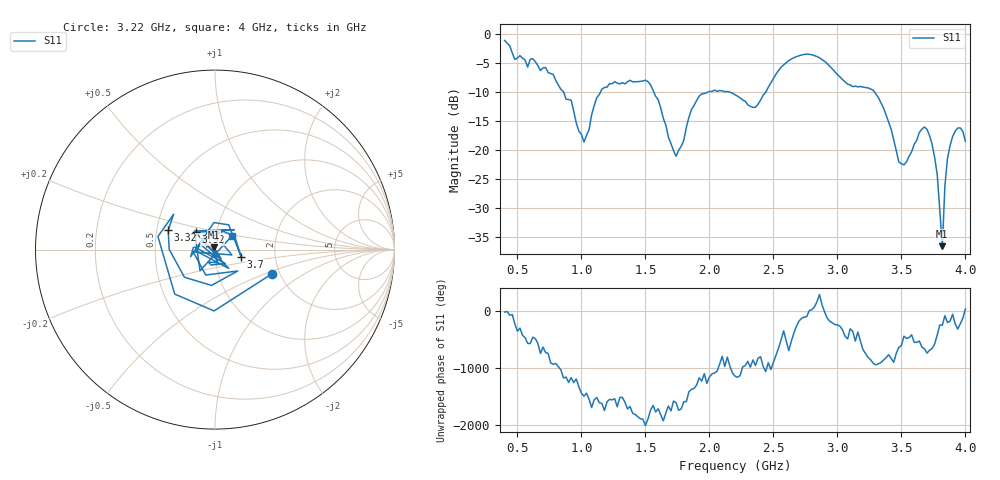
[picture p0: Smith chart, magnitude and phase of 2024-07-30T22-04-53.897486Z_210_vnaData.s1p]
!Created with skrf (http://scikit-rf.org).
# Hz S RI R 50.0
!freq ReS11 ImS11
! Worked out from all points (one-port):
!   181 points, 400 MHz to 4 GHz, reference 50 ohm
!   lowest |S11| = -36.6 dB at 3.82 GHz (marker M1), VSWR 1.03, Z = 49.4 + j1.33 ohm
!   |S11| at or under -10 dB: 1.565 GHz to 1.993 GHz (427.6 MHz wide, 24 % of centre); 2.151 GHz to 2.442 GHz (290.6 MHz wide, 12.7 % of centre); 3.288 GHz to end of sweep (the widest 3 of 4)
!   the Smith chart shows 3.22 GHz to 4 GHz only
!   S11 on the Smith chart (normalised r, x): 3.22 GHz: 1.82, -0.56; 3.32 GHz: 0.57, +0.14; 3.7 GHz: 1.34, -0.11; 3.92 GHz: 0.79, +0.16; 4 GHz: 1.19, +0.18
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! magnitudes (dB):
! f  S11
! 400 MHz  -1.2
! 480 MHz  -4.4
! 620 MHz  -4.3
! 860 MHz  -10.0
! 920 MHz  -11.4
! 1.02 GHz  -18.6
! 1.16 GHz  -9.5
! 1.3 GHz  -8.6
! 1.52 GHz  -8.2
! 1.72 GHz  -20.1
! 1.76 GHz  -20.1
! 1.92 GHz  -10.8
! 2.2 GHz  -10.5
! 2.36 GHz  -12.7
! 2.66 GHz  -4.1
! 2.84 GHz  -3.9
! 3.1 GHz  -8.8
! 3.22 GHz  -9.3
! 3.32 GHz  -11.0
! 3.48 GHz  -22.1
! 3.56 GHz  -21.1
! 3.7 GHz  -16.5
! 3.78 GHz  -24.3
! 3.82 GHz  -36.6
! 3.84 GHz  -26.1
! 3.86 GHz  -21.5
! 3.92 GHz  -16.8
! 4 GHz  -18.5
